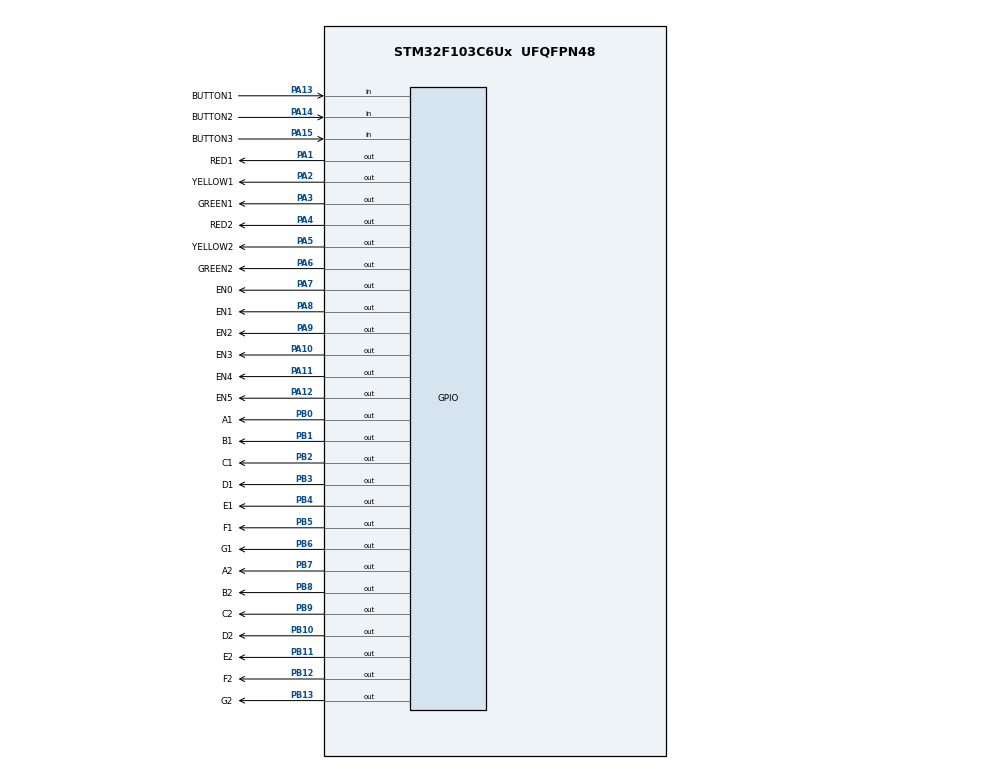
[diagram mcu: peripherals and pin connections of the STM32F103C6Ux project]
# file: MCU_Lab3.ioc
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Mcu.Family=STM32F1
Mcu.Name=STM32F103C6Ux
Mcu.Package=UFQFPN48
NVIC.PriorityGroup=NVIC_PRIORITYGROUP_4
NVIC.TIM2_IRQn=true\:0\:0\:false\:false\:true\:true\:true\:true
PA1.GPIO_Label=RED1
PA1.Signal=GPIO_Output
PA10.GPIO_Label=EN3
PA10.Signal=GPIO_Output
PA11.GPIO_Label=EN4
PA11.Signal=GPIO_Output
PA12.GPIO_Label=EN5
PA12.Signal=GPIO_Output
PA13.GPIO_Label=BUTTON1
PA13.GPIO_PuPd=GPIO_PULLUP
PA13.Signal=GPIO_Input
PA14.GPIO_Label=BUTTON2
PA14.GPIO_PuPd=GPIO_PULLUP
PA14.Signal=GPIO_Input
PA15.GPIO_Label=BUTTON3
PA15.GPIO_PuPd=GPIO_PULLUP
PA15.Signal=GPIO_Input
PA2.GPIO_Label=YELLOW1
PA2.Signal=GPIO_Output
PA3.GPIO_Label=GREEN1
PA3.Signal=GPIO_Output
PA4.GPIO_Label=RED2
PA4.Signal=GPIO_Output
PA5.GPIO_Label=YELLOW2
PA5.Signal=GPIO_Output
PA6.GPIO_Label=GREEN2
PA6.Signal=GPIO_Output
PA7.GPIO_Label=EN0
PA7.Signal=GPIO_Output
PA8.GPIO_Label=EN1
PA8.Signal=GPIO_Output
PA9.GPIO_Label=EN2
PA9.Signal=GPIO_Output
PB0.GPIO_Label=A1
PB0.Signal=GPIO_Output
PB1.GPIO_Label=B1
PB1.Signal=GPIO_Output
PB10.GPIO_Label=D2
PB10.Signal=GPIO_Output
PB11.GPIO_Label=E2
PB11.Signal=GPIO_Output
PB12.GPIO_Label=F2
PB12.Signal=GPIO_Output
PB13.GPIO_Label=G2
PB13.Signal=GPIO_Output
PB2.GPIO_Label=C1
PB2.Signal=GPIO_Output
PB3.GPIO_Label=D1
PB3.Signal=GPIO_Output
PB4.GPIO_Label=E1
PB4.Signal=GPIO_Output
PB5.GPIO_Label=F1
PB5.Signal=GPIO_Output
PB6.GPIO_Label=G1
PB6.Signal=GPIO_Output
PB7.GPIO_Label=A2
PB7.Signal=GPIO_Output
PB8.GPIO_Label=B2
PB8.Signal=GPIO_Output
PB9.GPIO_Label=C2
PB9.Signal=GPIO_Output
ProjectManager.HeapSize=0x200
ProjectManager.StackSize=0x400
ProjectManager.TargetToolchain=STM32CubeIDE
RCC.APB1Freq_Value=8000000
RCC.APB2Freq_Value=8000000
TIM2.Period=10
TIM2.Prescaler=7999
VP_TIM2_VS_ClockSourceINT.Mode=Internal
board=custom

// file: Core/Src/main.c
/* USER CODE BEGIN Header */
/**
  ******************************************************************************
  * @file           : main.c
  * @brief          : Main program body
  ******************************************************************************
  * @attention
  *
  * Copyright (c) 2023 STMicroelectronics.
  * All rights reserved.
  *
  * This software is licensed under terms that can be found in the LICENSE file
  * in the root directory of this software component.
  * If no LICENSE file comes with this software, it is provided AS-IS.
  *
  ******************************************************************************
  */
/* USER CODE END Header */
#include "main.h"

/* USER CODE BEGIN Includes */
#include "main.h"
#include "button.h"
#include "software_timer.h"
#include "auto.h"
#include "manual.h"
#include "global.h"
#include "display.h"
/* USER CODE END Includes */

TIM_HandleTypeDef htim2;

void SystemClock_Config(void);
static void MX_GPIO_Init(void);
static void MX_TIM2_Init(void);

int main(void)
{

  /* MCU Configuration--------------------------------------------------------*/

  /* Reset of all peripherals, Initializes the Flash interface and the Systick. */
  HAL_Init();

  /* Configure the system clock */
  SystemClock_Config();

  /* Initialize all configured peripherals */
  MX_GPIO_Init();
  MX_TIM2_Init();
  /* USER CODE BEGIN 2 */
  HAL_TIM_Base_Start_IT(&htim2);
  /* USER CODE END 2 */

  /* Infinite loop */
  /* USER CODE BEGIN WHILE */
  setValues();
  displayFirstLedCouple(LED_INIT);
  while (1)
  {
    /* USER CODE END WHILE */
	  auto_run();
	  manual_run();
  }
}

void SystemClock_Config(void)
{
  RCC_OscInitTypeDef RCC_OscInitStruct = {0};
  RCC_ClkInitTypeDef RCC_ClkInitStruct = {0};

  /** Initializes the RCC Oscillators according to the specified parameters
  * in the RCC_OscInitTypeDef structure.
  */
  RCC_OscInitStruct.OscillatorType = RCC_OSCILLATORTYPE_HSI;
  RCC_OscInitStruct.HSIState = RCC_HSI_ON;
  RCC_OscInitStruct.HSICalibrationValue = RCC_HSICALIBRATION_DEFAULT;
  RCC_OscInitStruct.PLL.PLLState = RCC_PLL_NONE;
  if (HAL_RCC_OscConfig(&RCC_OscInitStruct) != HAL_OK)
  {
    Error_Handler();
  }

  /** Initializes the CPU, AHB and APB buses clocks
  */
  RCC_ClkInitStruct.ClockType = RCC_CLOCKTYPE_HCLK|RCC_CLOCKTYPE_SYSCLK
                              |RCC_CLOCKTYPE_PCLK1|RCC_CLOCKTYPE_PCLK2;
  RCC_ClkInitStruct.SYSCLKSource = RCC_SYSCLKSOURCE_HSI;
  RCC_ClkInitStruct.AHBCLKDivider = RCC_SYSCLK_DIV1;
  RCC_ClkInitStruct.APB1CLKDivider = RCC_HCLK_DIV1;
  RCC_ClkInitStruct.APB2CLKDivider = RCC_HCLK_DIV1;

  if (HAL_RCC_ClockConfig(&RCC_ClkInitStruct, FLASH_LATENCY_0) != HAL_OK)
  {
    Error_Handler();
  }
}

static void MX_TIM2_Init(void)
{

  TIM_ClockConfigTypeDef sClockSourceConfig = {0};
  TIM_MasterConfigTypeDef sMasterConfig = {0};

  htim2.Instance = TIM2;
  htim2.Init.Prescaler = 7999;
  htim2.Init.CounterMode = TIM_COUNTERMODE_UP;
  htim2.Init.Period = 10;
  htim2.Init.ClockDivision = TIM_CLOCKDIVISION_DIV1;
  htim2.Init.AutoReloadPreload = TIM_AUTORELOAD_PRELOAD_DISABLE;
  if (HAL_TIM_Base_Init(&htim2) != HAL_OK)
  {
    Error_Handler();
  }
  sClockSourceConfig.ClockSource = TIM_CLOCKSOURCE_INTERNAL;
  if (HAL_TIM_ConfigClockSource(&htim2, &sClockSourceConfig) != HAL_OK)
  {
    Error_Handler();
  }
  sMasterConfig.MasterOutputTrigger = TIM_TRGO_RESET;
  sMasterConfig.MasterSlaveMode = TIM_MASTERSLAVEMODE_DISABLE;
  if (HAL_TIMEx_MasterConfigSynchronization(&htim2, &sMasterConfig) != HAL_OK)
  {
    Error_Handler();
  }

}

static void MX_GPIO_Init(void)
{
  GPIO_InitTypeDef GPIO_InitStruct = {0};

  /* GPIO Ports Clock Enable */
  __HAL_RCC_GPIOA_CLK_ENABLE();
  __HAL_RCC_GPIOB_CLK_ENABLE();

  /*Configure GPIO pin Output Level */
  HAL_GPIO_WritePin(GPIOA, RED1_Pin|YELLOW1_Pin|GREEN1_Pin|RED2_Pin
                          |YELLOW2_Pin|GREEN2_Pin, GPIO_PIN_RESET);

  /*Configure GPIO pin Output Level */
  HAL_GPIO_WritePin(GPIOA, EN0_Pin|EN1_Pin|EN2_Pin|EN3_Pin
                          |EN4_Pin|EN5_Pin, GPIO_PIN_SET);

  /*Configure GPIO pin Output Level */
  HAL_GPIO_WritePin(GPIOB, A1_Pin|B1_Pin|C1_Pin|D2_Pin
                          |E2_Pin|F2_Pin|G2_Pin|D1_Pin
                          |E1_Pin|F1_Pin|G1_Pin|A2_Pin
                          |B2_Pin|C2_Pin, GPIO_PIN_RESET);

  /*Configure GPIO pins : RED1_Pin YELLOW1_Pin GREEN1_Pin RED2_Pin
                           YELLOW2_Pin GREEN2_Pin EN0_Pin EN1_Pin
                           EN2_Pin EN3_Pin EN4_Pin EN5_Pin */
  GPIO_InitStruct.Pin = RED1_Pin|YELLOW1_Pin|GREEN1_Pin|RED2_Pin
                          |YELLOW2_Pin|GREEN2_Pin|EN0_Pin|EN1_Pin
                          |EN2_Pin|EN3_Pin|EN4_Pin|EN5_Pin;
  GPIO_InitStruct.Mode = GPIO_MODE_OUTPUT_PP;
  GPIO_InitStruct.Pull = GPIO_NOPULL;
  GPIO_InitStruct.Speed = GPIO_SPEED_FREQ_LOW;
  HAL_GPIO_Init(GPIOA, &GPIO_InitStruct);

  /*Configure GPIO pins : A1_Pin B1_Pin C1_Pin D2_Pin
                           E2_Pin F2_Pin G2_Pin D1_Pin
                           E1_Pin F1_Pin G1_Pin A2_Pin
                           B2_Pin C2_Pin */
  GPIO_InitStruct.Pin = A1_Pin|B1_Pin|C1_Pin|D2_Pin
                          |E2_Pin|F2_Pin|G2_Pin|D1_Pin
                          |E1_Pin|F1_Pin|G1_Pin|A2_Pin
                          |B2_Pin|C2_Pin;
  GPIO_InitStruct.Mode = GPIO_MODE_OUTPUT_PP;
  GPIO_InitStruct.Pull = GPIO_NOPULL;
  GPIO_InitStruct.Speed = GPIO_SPEED_FREQ_LOW;
  HAL_GPIO_Init(GPIOB, &GPIO_InitStruct);

  /*Configure GPIO pins : BUTTON1_Pin BUTTON2_Pin BUTTON3_Pin */
  GPIO_InitStruct.Pin = BUTTON1_Pin|BUTTON2_Pin|BUTTON3_Pin;
  GPIO_InitStruct.Mode = GPIO_MODE_INPUT;
  GPIO_InitStruct.Pull = GPIO_PULLUP;
  HAL_GPIO_Init(GPIOA, &GPIO_InitStruct);

}

/* USER CODE BEGIN 4 */
void HAL_TIM_PeriodElapsedCallback(TIM_HandleTypeDef *htim){
	timerRun(0);
	timerRun(1);
	timerRun(2);
	timerRun(3);
	timerRun(4);
	timerRun(5);
	timerRun(6);
	timerRun(7);
	timerRun(8);
	getKeyInput();
}
/* USER CODE END 4 */

void Error_Handler(void)
{
  __disable_irq();
  while (1)
  {
  }
}
